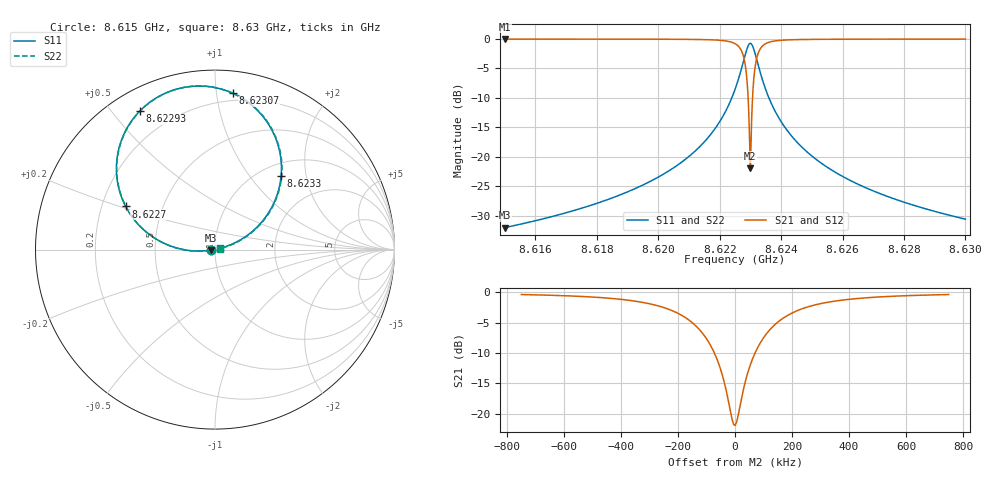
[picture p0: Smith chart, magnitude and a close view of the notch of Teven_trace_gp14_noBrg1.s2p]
! Sonnet Data File
! From: emgraph Version : 16.52
! From Emgraph Data: 171113transmon_trace_noBrg
! Data File Written: 11/14/2017 19:36:20
!< HDATE 11/14/2017 18:17:25
!< MDATE 11/14/2017 18:17:25
!< PARAMS
!< Lj = 15.24
!< Gap = 14.0
!< Width = 10.0
!< Pwidth = 2000.0
!< END PARAMS
# GHZ S MA R 51.90000
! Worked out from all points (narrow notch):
!   3597 points, 8.615 GHz to 8.63 GHz, reference 51.9 ohm
!   highest |S21| = 0.00 dB at 8.615 GHz (marker M1); lowest = -21.9 dB at 8.623 GHz (marker M2)
!   notch at M2: 21.9 dB deep, 125 kHz wide at half that depth
!   lowest |S11| = -32.1 dB at 8.615 GHz (marker M3), VSWR 1.05, Z = 49.4 - j0.339 ohm
!   |S11| at or under -10 dB: start of sweep to 8.622396 GHz; 8.623604 GHz to end of sweep
!   |S22| runs from -32.1 to -0.7 dB; largest |S21 - S12| = 3.6e-12
!   S11 on the Smith chart (normalised r, x): 8.615 GHz: 0.95, -0.01; 8.6227 GHz: 0.30, +0.21; 8.62293 GHz: 0.09, +0.59; 8.62307 GHz: 0.15, +1.11; 8.6233 GHz: 1.23, +1.45; 8.63 GHz: 1.06, +0.02
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8.615  0.02494 -172.1  0.9996 -80.3  0.9996 -80.3  0.02493 -168.7
!< P1 F=8.615 Eeff=(6.44688234 -2.9785e-5) Z0=(51.7995732 1.19081e-4) R=0.0 C=0.0
!< P2 F=8.615 Eeff=(6.44688234 -2.9785e-5) Z0=(51.7995732 1.19081e-4) R=0.0 C=0.0
8.6175  0.03644 -172.3  0.9992 -80.9  0.9992 -80.9  0.03643 -170.0
8.62  0.06703 -173.6  0.9974 -82.7  0.9974 -82.7  0.06702 -172.5
8.621565  0.1395 -177.8  0.9885 -86.9  0.9885 -86.9  0.1394 -177.4
8.62212  0.2238 177.0  0.9702 -91.8  0.9702 -91.8  0.2237 177.1
8.6225  0.3726 167.2  0.9149 -100.8  0.9149 -100.8  0.3725 167.2
8.622705  0.553 154.2  0.8007 -112.4  0.8007 -112.4  0.553 154.1
8.62284  0.7472 136.9  0.5873 -126.9  0.5873 -126.9  0.7471 136.7
8.622885  0.818 128.5  0.4636 -132.8  0.4636 -132.8  0.8179 128.2
8.62293  0.8785 118.5  0.3073 -137.2  0.3073 -137.2  0.8784 118.3
8.623  0.9202 101.0  0.07999 -75.8  0.07999 -75.8  0.9201 100.7
8.623035  0.9082 92.0  0.1791 -24.3  0.1791 -24.3  0.9081 91.7
8.62307  0.8761 83.4  0.3151 -20.7  0.3151 -20.7  0.876 83.1
8.623115  0.8149 73.6  0.4699 -25.2  0.4699 -25.2  0.8148 73.2
8.623155  0.752 66.1  0.5801 -30.6  0.5801 -30.6  0.7519 65.7
8.623295  0.5509 48.1  0.8024 -45.5  0.8024 -45.5  0.5509 47.7
8.623485  0.3814 35.8  0.9107 -56.5  0.9107 -56.5  0.3814 35.3
8.62376  0.2571 27.6  0.9604 -64.0  0.9604 -64.0  0.2571 27.0
8.62429  0.1558 21.3  0.9857 -70.0  0.9857 -70.0  0.1557 20.4
8.625  0.1015 18.0  0.9939 -73.1  0.9939 -73.1  0.1015 16.8
8.6275  0.04557 15.0  0.9988 -76.3  0.9988 -76.3  0.04556 12.7
8.63  0.02946 14.6  0.9995 -77.3  0.9995 -77.3  0.02946 11.2
